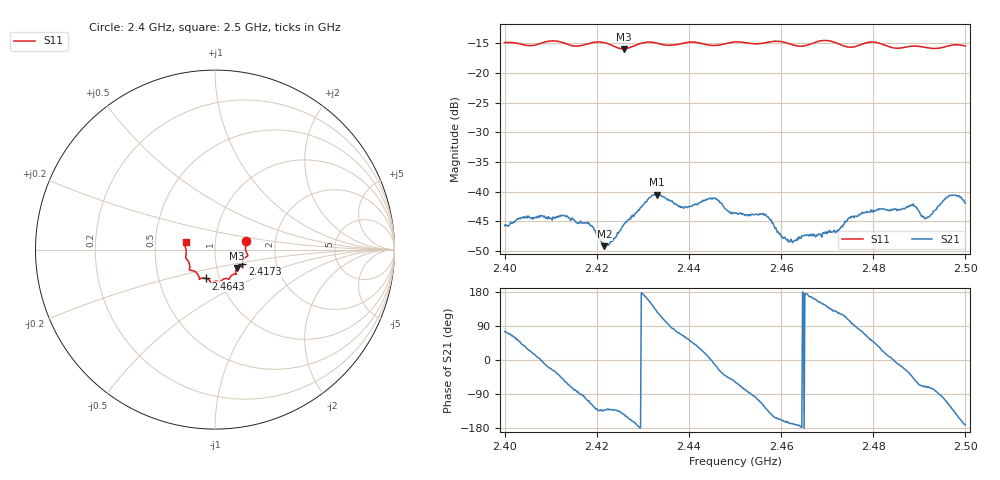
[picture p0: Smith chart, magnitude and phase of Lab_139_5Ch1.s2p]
# Hz S RI R 50
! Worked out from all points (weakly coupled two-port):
!   601 points, 2.4 GHz to 2.5 GHz, reference 50 ohm
!   highest |S21| = -40.47 dB at 2.433 GHz (marker M1); lowest = -49.2 dB at 2.4217 GHz (marker M2)
!   lowest |S11| = -15.9 dB at 2.4258 GHz (marker M3), VSWR 1.38, Z = 62.3 - j13.3 ohm
!   |S11| at or under -10 dB: start of sweep to end of sweep
!   S12 and S22 are empty: the file has one direction only
!   S11 on the Smith chart (normalised r, x): 2.4 GHz: 1.41, +0.14; 2.4173 GHz: 1.34, -0.23; 2.4643 GHz: 0.86, -0.28; 2.5 GHz: 0.72, +0.06
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2.4e9  0.1736 0.049  0.00137 0.00506  0 0  0 0
2.408167e9  0.1783 -0.0221  0.00627 -0.000359  0 0  0 0
2.416667e9  0.1532 -0.0747  -1.42e-05 -0.00549  0 0  0 0
2.417333e9  0.1524 -0.0822  -0.000745 -0.0054  0 0  0 0
2.421667e9  0.153 -0.0954  -0.00236 -0.00256  0 0  0 0
2.425833e9  0.1215 -0.1037  -0.00426 -0.00313  0 0  0 0
2.433e9  0.1148 -0.1367  -0.00603 0.0073  0 0  0 0
2.433333e9  0.113 -0.1365  -0.00522 0.00781  0 0  0 0
2.438667e9  0.0815 -0.1582  0.0032 0.00671  0 0  0 0
2.445667e9  0.05 -0.1632  0.00868 -0.00192  0 0  0 0
2.45e9  0.0293 -0.1806  0.00359 -0.00563  0 0  0 0
2.456167e9  -0.00739 -0.1785  -0.00326 -0.00569  0 0  0 0
2.4615e9  -0.0275 -0.1756  -0.00382 -0.00105  0 0  0 0
2.464333e9  -0.05 -0.1607  -0.00405 -0.000214  0 0  0 0
2.466667e9  -0.076 -0.1595  -0.00428 0.0011  0 0  0 0
2.472167e9  -0.0881 -0.1549  -0.00271 0.00374  0 0  0 0
2.477833e9  -0.1334 -0.1156  0.002 0.0063  0 0  0 0
2.483333e9  -0.1408 -0.0902  0.00684 0.00119  0 0  0 0
2.488667e9  -0.1621 -0.0472  0.00533 -0.00585  0 0  0 0
2.491667e9  -0.1611 -0.0284  0.00205 -0.00566  0 0  0 0
2.496333e9  -0.1681 0.0216  -0.00413 -0.00823  0 0  0 0
2.5e9  -0.1637 0.0415  -0.00794 -0.00119  0 0  0 0
